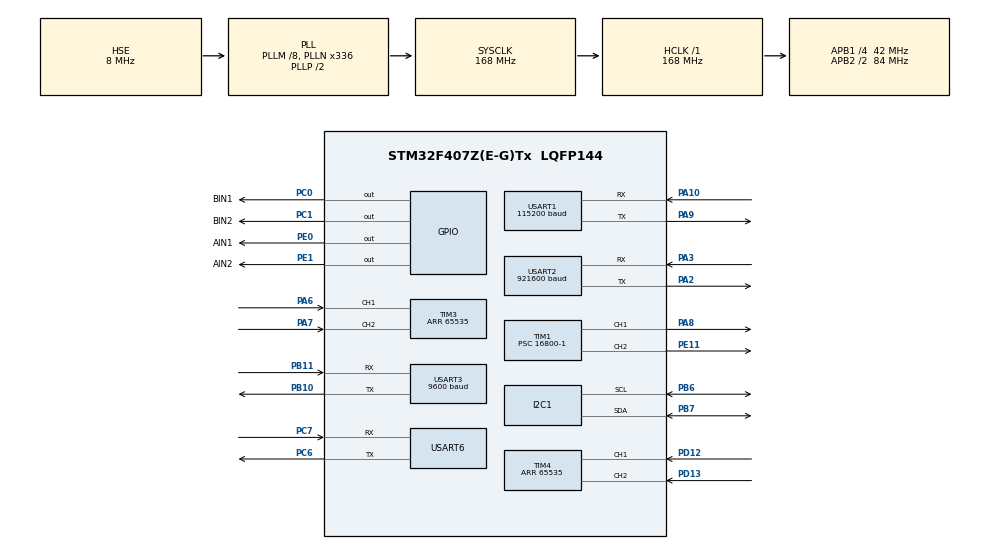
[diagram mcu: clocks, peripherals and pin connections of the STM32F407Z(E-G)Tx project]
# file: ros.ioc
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Dma.Request0=USART2_RX
Dma.Request1=USART2_TX
Dma.USART2_RX.0.Direction=DMA_PERIPH_TO_MEMORY
Dma.USART2_RX.0.FIFOMode=DMA_FIFOMODE_DISABLE
Dma.USART2_RX.0.Instance=DMA1_Stream5
Dma.USART2_RX.0.MemDataAlignment=DMA_MDATAALIGN_BYTE
Dma.USART2_RX.0.MemInc=DMA_MINC_ENABLE
Dma.USART2_RX.0.Mode=DMA_CIRCULAR
Dma.USART2_RX.0.PeriphDataAlignment=DMA_PDATAALIGN_BYTE
Dma.USART2_RX.0.PeriphInc=DMA_PINC_DISABLE
Dma.USART2_RX.0.Priority=DMA_PRIORITY_VERY_HIGH
Dma.USART2_TX.1.Direction=DMA_MEMORY_TO_PERIPH
Dma.USART2_TX.1.FIFOMode=DMA_FIFOMODE_DISABLE
Dma.USART2_TX.1.Instance=DMA1_Stream6
Dma.USART2_TX.1.MemDataAlignment=DMA_MDATAALIGN_BYTE
Dma.USART2_TX.1.MemInc=DMA_MINC_ENABLE
Dma.USART2_TX.1.Mode=DMA_NORMAL
Dma.USART2_TX.1.PeriphDataAlignment=DMA_PDATAALIGN_BYTE
Dma.USART2_TX.1.PeriphInc=DMA_PINC_DISABLE
Dma.USART2_TX.1.Priority=DMA_PRIORITY_VERY_HIGH
FREERTOS.Tasks01=defaultTask,24,3000,StartDefaultTask,Default,NULL,Static,defaultTaskBuffer,defaultTaskControlBlock;imuTask,24,128,StartImuTask,Default,NULL,Static,imuTaskBuffer,imuTaskControlBlock;motorTask,24,128,StartMotorTask,Default,NULL,Static,motorTaskBuffer,motorTaskControlBlock
FREERTOS.configTOTAL_HEAP_SIZE=20000
Mcu.Family=STM32F4
Mcu.Name=STM32F407Z(E-G)Tx
Mcu.Package=LQFP144
NVIC.DMA1_Stream5_IRQn=true\:5\:0\:false\:false\:true\:true\:false\:true\:true
NVIC.DMA1_Stream6_IRQn=true\:5\:0\:false\:false\:true\:true\:false\:true\:true
NVIC.PriorityGroup=NVIC_PRIORITYGROUP_4
NVIC.TIM2_IRQn=true\:5\:0\:true\:false\:true\:true\:true\:true\:true
NVIC.TIM8_TRG_COM_TIM14_IRQn=true\:15\:0\:false\:false\:true\:false\:false\:true\:true
NVIC.TimeBase=TIM8_TRG_COM_TIM14_IRQn
NVIC.TimeBaseIP=TIM14
NVIC.USART1_IRQn=true\:5\:0\:false\:false\:true\:true\:true\:true\:true
NVIC.USART2_IRQn=true\:5\:0\:false\:false\:true\:true\:true\:true\:true
NVIC.USART3_IRQn=true\:5\:0\:false\:false\:true\:true\:true\:true\:true
NVIC.USART6_IRQn=true\:5\:0\:false\:false\:true\:true\:true\:true\:true
PA10.Mode=Asynchronous
PA10.Signal=USART1_RX
PA13.Mode=Serial_Wire
PA13.Signal=SYS_JTMS-SWDIO
PA14.Mode=Serial_Wire
PA14.Signal=SYS_JTCK-SWCLK
PA2.Mode=Asynchronous
PA2.Signal=USART2_TX
PA3.Mode=Asynchronous
PA3.Signal=USART2_RX
PA6.Signal=S_TIM3_CH1
PA7.Signal=S_TIM3_CH2
PA8.Signal=S_TIM1_CH1
PA9.Mode=Asynchronous
PA9.Signal=USART1_TX
PB10.Mode=Asynchronous
PB10.Signal=USART3_TX
PB11.Mode=Asynchronous
PB11.Signal=USART3_RX
PB6.Mode=I2C
PB6.Signal=I2C1_SCL
PB7.Mode=I2C
PB7.Signal=I2C1_SDA
PC0.GPIO_Label=BIN1
PC0.Signal=GPIO_Output
PC1.GPIO_Label=BIN2
PC1.Signal=GPIO_Output
PC6.Mode=Asynchronous
PC6.Signal=USART6_TX
PC7.Mode=Asynchronous
PC7.Signal=USART6_RX
PD12.Signal=S_TIM4_CH1
PD13.Signal=S_TIM4_CH2
PE0.GPIO_Label=AIN1
PE0.Signal=GPIO_Output
PE1.GPIO_Label=AIN2
PE1.Signal=GPIO_Output
PE11.Signal=S_TIM1_CH2
PH0-OSC_IN.Mode=HSE-External-Oscillator
PH0-OSC_IN.Signal=RCC_OSC_IN
PH1-OSC_OUT.Mode=HSE-External-Oscillator
PH1-OSC_OUT.Signal=RCC_OSC_OUT
ProjectManager.HeapSize=0x200
ProjectManager.StackSize=0x400
ProjectManager.TargetToolchain=STM32CubeIDE
RCC.48MHZClocksFreq_Value=84000000
RCC.AHBFreq_Value=168000000
RCC.APB1CLKDivider=RCC_HCLK_DIV4
RCC.APB1Freq_Value=42000000
RCC.APB1TimFreq_Value=84000000
RCC.APB2CLKDivider=RCC_HCLK_DIV2
RCC.APB2Freq_Value=84000000
RCC.APB2TimFreq_Value=168000000
RCC.CortexFreq_Value=168000000
RCC.HCLKFreq_Value=168000000
RCC.HSE_VALUE=8000000
RCC.HSI_VALUE=16000000
RCC.LSE_VALUE=32768
RCC.PLLM=8
RCC.PLLN=336
RCC.PLLSourceVirtual=RCC_PLLSOURCE_HSE
RCC.SYSCLKFreq_VALUE=168000000
RCC.SYSCLKSource=RCC_SYSCLKSOURCE_PLLCLK
RCC.VCOOutputFreq_Value=336000000
SH.S_TIM1_CH1.0=TIM1_CH1,PWM Generation1 CH1
SH.S_TIM1_CH2.0=TIM1_CH2,PWM Generation2 CH2
SH.S_TIM3_CH1.0=TIM3_CH1,Encoder_Interface
SH.S_TIM3_CH2.0=TIM3_CH2,Encoder_Interface
SH.S_TIM4_CH1.0=TIM4_CH1,Encoder_Interface
SH.S_TIM4_CH2.0=TIM4_CH2,Encoder_Interface
TIM1.Channel-PWM\ Generation1\ CH1=TIM_CHANNEL_1
TIM1.Channel-PWM\ Generation2\ CH2=TIM_CHANNEL_2
TIM1.Period=100-1
TIM1.Prescaler=16800-1
TIM2.Period=1000
TIM2.Prescaler=1680-1
TIM3.EncoderMode=TIM_ENCODERMODE_TI12
TIM3.IC1Filter=0
TIM3.IC2Filter=0
TIM3.Period=65535
TIM4.EncoderMode=TIM_ENCODERMODE_TI12
TIM4.Period=65535
USART1.BaudRate=115200
USART1.VirtualMode=VM_ASYNC
USART2.BaudRate=921600
USART2.VirtualMode=VM_ASYNC
USART3.BaudRate=9600
USART3.VirtualMode=VM_ASYNC
USART6.VirtualMode=VM_ASYNC
VP_FREERTOS_VS_CMSIS_V2.Mode=CMSIS_V2
VP_SYS_VS_tim14.Mode=TIM14
VP_TIM2_VS_ClockSourceINT.Mode=Internal
board=custom

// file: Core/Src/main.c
/* USER CODE BEGIN Header */
/**
  ******************************************************************************
  * @file           : main.c
  * @brief          : Main program body
  ******************************************************************************
  * @attention
  *
  * Copyright (c) 2024 STMicroelectronics.
  * All rights reserved.
  *
  * This software is licensed under terms that can be found in the LICENSE file
  * in the root directory of this software component.
  * If no LICENSE file comes with this software, it is provided AS-IS.
  *
  ******************************************************************************
  */
/* USER CODE END Header */
#include "main.h"
#include "cmsis_os.h"
#include "dma.h"
#include "i2c.h"
#include "tim.h"
#include "usart.h"
#include "gpio.h"

/* USER CODE BEGIN Includes */
#include <oled/oled.h>
#include <JY61P/jy61p.h>
#include <encoder/encoder.h>
/* USER CODE END Includes */

void SystemClock_Config(void);
void MX_FREERTOS_Init(void);

int main(void)
{

  /* MCU Configuration--------------------------------------------------------*/

  /* Reset of all peripherals, Initializes the Flash interface and the Systick. */
  HAL_Init();

  /* Configure the system clock */
  SystemClock_Config();

  /* Initialize all configured peripherals */
  MX_GPIO_Init();
  MX_DMA_Init();
  MX_USART2_UART_Init();
  MX_USART1_UART_Init();
  MX_TIM1_Init();
  MX_I2C1_Init();
  MX_USART3_UART_Init();
  MX_TIM3_Init();
  MX_TIM4_Init();
  MX_TIM2_Init();
  MX_USART6_UART_Init();
  /* USER CODE BEGIN 2 */
  HAL_UART_Receive_IT(&huart3,&rx_buff1,1);
//  HAL_UART_Receive_IT(&huart6,&rx_buff1,1);
  HAL_TIM_PWM_Start(&htim1,TIM_CHANNEL_1);	//使能TIM1-1		左AIN
  HAL_TIM_PWM_Start(&htim1,TIM_CHANNEL_2);	//使能TIM1-2		右BIN
  Encoder_Init();

//  OLED_Init();          //OLED初始	SDA-PB7  SCL-PB6
//  OLED_Clear();

  /* USER CODE END 2 */

  /* Init scheduler */
  osKernelInitialize();

  /* Call init function for freertos objects (in cmsis_os2.c) */
  MX_FREERTOS_Init();

  /* Start scheduler */
  osKernelStart();

  /* We should never get here as control is now taken by the scheduler */

  /* Infinite loop */
  while (1)
  {

  }
}

void SystemClock_Config(void)
{
  RCC_OscInitTypeDef RCC_OscInitStruct = {0};
  RCC_ClkInitTypeDef RCC_ClkInitStruct = {0};

  /** Configure the main internal regulator output voltage
  */
  __HAL_RCC_PWR_CLK_ENABLE();
  __HAL_PWR_VOLTAGESCALING_CONFIG(PWR_REGULATOR_VOLTAGE_SCALE1);

  /** Initializes the RCC Oscillators according to the specified parameters
  * in the RCC_OscInitTypeDef structure.
  */
  RCC_OscInitStruct.OscillatorType = RCC_OSCILLATORTYPE_HSE;
  RCC_OscInitStruct.HSEState = RCC_HSE_ON;
  RCC_OscInitStruct.PLL.PLLState = RCC_PLL_ON;
  RCC_OscInitStruct.PLL.PLLSource = RCC_PLLSOURCE_HSE;
  RCC_OscInitStruct.PLL.PLLM = 8;
  RCC_OscInitStruct.PLL.PLLN = 336;
  RCC_OscInitStruct.PLL.PLLP = RCC_PLLP_DIV2;
  RCC_OscInitStruct.PLL.PLLQ = 4;
  if (HAL_RCC_OscConfig(&RCC_OscInitStruct) != HAL_OK)
  {
    Error_Handler();
  }

  /** Initializes the CPU, AHB and APB buses clocks
  */
  RCC_ClkInitStruct.ClockType = RCC_CLOCKTYPE_HCLK|RCC_CLOCKTYPE_SYSCLK
                              |RCC_CLOCKTYPE_PCLK1|RCC_CLOCKTYPE_PCLK2;
  RCC_ClkInitStruct.SYSCLKSource = RCC_SYSCLKSOURCE_PLLCLK;
  RCC_ClkInitStruct.AHBCLKDivider = RCC_SYSCLK_DIV1;
  RCC_ClkInitStruct.APB1CLKDivider = RCC_HCLK_DIV4;
  RCC_ClkInitStruct.APB2CLKDivider = RCC_HCLK_DIV2;

  if (HAL_RCC_ClockConfig(&RCC_ClkInitStruct, FLASH_LATENCY_5) != HAL_OK)
  {
    Error_Handler();
  }
}

void HAL_TIM_PeriodElapsedCallback(TIM_HandleTypeDef *htim)
{
  if (htim->Instance == TIM14) {
    HAL_IncTick();
  }
  /* USER CODE BEGIN Callback 1 */
  if(htim->Instance==GAP_TIM.Instance)
  {
	motor1.Direction = __HAL_TIM_IS_TIM_COUNTING_DOWN(&ENCODER_1_TIM);
	motor2.Direction = __HAL_TIM_IS_TIM_COUNTING_DOWN(&ENCODER_2_TIM);
	motor1.CaptureNumber = __HAL_TIM_GET_COUNTER(&ENCODER_1_TIM);
	motor2.CaptureNumber = __HAL_TIM_GET_COUNTER(&ENCODER_2_TIM);

	if(motor1.Direction)  //如果向下计数，真实的脉冲计数值＝65535-CaptureNumber
		motor1.CaptureNumber = 65535 - motor1.CaptureNumber;
	if(motor2.Direction)  //如果向下计数，真实的脉冲计数值＝65535-CaptureNumber
			motor2.CaptureNumber = 65535 - motor2.CaptureNumber;
	motor1.speed = motor1.CaptureNumber * 60/0.01/4/1320/30;
	motor2.speed = motor2.CaptureNumber * 60/0.01/4/1320/30;
	// 脉冲数量×60/定时时间(s)/4倍频/单圈脉冲�?(1320)/减�?�比�?    单位 r/min

	__HAL_TIM_GET_COUNTER(&ENCODER_1_TIM) = 0;//计数值清0�?
	__HAL_TIM_GET_COUNTER(&ENCODER_2_TIM) = 0;//计数值清0�?
  }
  /* USER CODE END Callback 1 */
}

void Error_Handler(void)
{
  __disable_irq();
  while (1)
  {
  }
}

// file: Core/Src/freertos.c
/* USER CODE BEGIN Header */
/**
  ******************************************************************************
  * File Name          : freertos.c
  * Description        : Code for freertos applications
  ******************************************************************************
  * @attention
  *
  * Copyright (c) 2024 STMicroelectronics.
  * All rights reserved.
  *
  * This software is licensed under terms that can be found in the LICENSE file
  * in the root directory of this software component.
  * If no LICENSE file comes with this software, it is provided AS-IS.
  *
  ******************************************************************************
  */
/* USER CODE END Header */

#include "FreeRTOS.h"
#include "task.h"
#include "main.h"
#include "cmsis_os.h"

/* USER CODE BEGIN Includes */
#include "usart.h"
#include <motor/motor.h>
#include <oled/oled.h>
#include <JY61P/jy61p.h>
#include <encoder/encoder.h>
#include <Robotic_arm/robotic_arm.h>

#include <rcl/rcl.h>
#include <rcl/error_handling.h>
#include <rclc/rclc.h>
#include <rclc/executor.h>
#include <uxr/client/transport.h>
#include <rmw_microxrcedds_c/config.h>
#include <rmw_microros/rmw_microros.h>
#include <micro_ros_utilities/type_utilities.h>>

#include <std_msgs/msg/int32.h>
#include <std_msgs/msg/float32.h>
#include <std_msgs/msg/string.h>
#include <geometry_msgs/msg/twist.h>
#include <std_msgs/msg/detail/header__struct.h>
/* USER CODE END Includes */

typedef StaticTask_t osStaticThreadDef_t;
/* USER CODE BEGIN PTD */
typedef struct {
    float kp, ki, kd;
    float integral, prev_error;
} PIDController;
/* USER CODE END PTD */

/* USER CODE BEGIN PD */
#define RCCHECK(fn) { rcl_ret_t temp_rc = fn; if((temp_rc != RCL_RET_OK)){printf("Failed status on line %d: %d. Aborting.\n",__LINE__,(int)temp_rc);vTaskDelete(NULL);}}
#define RCSOFTCHECK(fn) { rcl_ret_t temp_rc = fn; if((temp_rc != RCL_RET_OK)){printf("Failed status on line %d: %d. Continuing.\n",__LINE__,(int)temp_rc);}}
/* USER CODE END PD */

/* USER CODE BEGIN PM */
char en1[20];
char en2[20];
int start_sign = 0;
#define STRING_LEN 200
/* USER CODE END PM */

/* USER CODE BEGIN Variables */
rclc_support_t support;
rcl_allocator_t allocator;
rcl_node_t node;

rcl_publisher_t hx_publisher;
std_msgs__msg__Int32  hx_send_msg;
rcl_subscription_t hx_subscriber;
rclc_executor_t hx_executor;
std_msgs__msg__Int32 hx_get_msg;

rcl_publisher_t imu_publisher;
std_msgs__msg__String imu_send_msg;
char string_memory[STRING_LEN];

rcl_publisher_t arm_publisher;
std_msgs__msg__String  arm_send_msg;
rcl_subscription_t arm_subscriber;
rclc_executor_t arm_executor;
std_msgs__msg__String arm_get_msg;
char arm_getdata[100];

//键盘控制“cmd_vel�????
rcl_subscription_t cmd_subscriber;
rclc_executor_t cmd_executor;
geometry_msgs__msg__Twist cmd_get_msg;
int cmd_getFlag = 0;
float ratio = 50.0f ;   //转速转换比例，执行速度调整比例48.78f
float D = 2.05f ;    //两轮间距，单位是m0.205f
float linear_temp=0,angular_temp=0;
float left_speed=0,right_speed=0;
float left_output=0,right_output=0;
PIDController pid = {0.1, 0.01, 0.01, 0.0, 0.0};

/* USER CODE END Variables */
/* Definitions for defaultTask */
osThreadId_t defaultTaskHandle;
uint32_t defaultTaskBuffer[ 3000 ];
osStaticThreadDef_t defaultTaskControlBlock;
const osThreadAttr_t defaultTask_attributes = {
  .name = "defaultTask",
  .cb_mem = &defaultTaskControlBlock,
  .cb_size = sizeof(defaultTaskControlBlock),
  .stack_mem = &defaultTaskBuffer[0],
  .stack_size = sizeof(defaultTaskBuffer),
  .priority = (osPriority_t) osPriorityNormal,
};
/* Definitions for imuTask */
osThreadId_t imuTaskHandle;
uint32_t imuTaskBuffer[ 128 ];
osStaticThreadDef_t imuTaskControlBlock;
const osThreadAttr_t imuTask_attributes = {
  .name = "imuTask",
  .cb_mem = &imuTaskControlBlock,
  .cb_size = sizeof(imuTaskControlBlock),
  .stack_mem = &imuTaskBuffer[0],
  .stack_size = sizeof(imuTaskBuffer),
  .priority = (osPriority_t) osPriorityNormal,
};
/* Definitions for motorTask */
osThreadId_t motorTaskHandle;
uint32_t motorTaskBuffer[ 128 ];
osStaticThreadDef_t motorTaskControlBlock;
const osThreadAttr_t motorTask_attributes = {
  .name = "motorTask",
  .cb_mem = &motorTaskControlBlock,
  .cb_size = sizeof(motorTaskControlBlock),
  .stack_mem = &motorTaskBuffer[0],
  .stack_size = sizeof(motorTaskBuffer),
  .priority = (osPriority_t) osPriorityNormal,
};

/* USER CODE BEGIN FunctionPrototypes */
bool cubemx_transport_open(struct uxrCustomTransport * transport);
bool cubemx_transport_close(struct uxrCustomTransport * transport);
size_t cubemx_transport_write(struct uxrCustomTransport* transport, const uint8_t * buf, size_t len, uint8_t * err);
size_t cubemx_transport_read(struct uxrCustomTransport* transport, uint8_t* buf, size_t len, int timeout, uint8_t* err);

void * microros_allocate(size_t size, void * state);
void microros_deallocate(void * pointer, void * state);
void * microros_reallocate(void * pointer, size_t size, void * state);
void * microros_zero_allocate(size_t number_of_elements, size_t size_of_element, void * state);

void micro_ros_init(void);
void hx_ros_init(void);
void imu_ros_init(void);
void arm_ros_init(void);
void cmd_get_init(void);

float pid_compute(PIDController *pid, float setpoint, float measured);

#include "stdio.h"
#define PUTCHAR_PROTOTYPE int __io_putchar(int ch)

PUTCHAR_PROTOTYPE
{
    HAL_UART_Transmit(&huart1 , (uint8_t *)&ch, 1, 0xFFFF);
    return ch;
}

void Uart6_SendStr(char*SendBuf)//串口6打印数据(这个无法发送0x00)
{
	while(*SendBuf)
	{
	  while((USART6->SR&0X40)==0);//等待发送完成
    USART6->DR = (unsigned char) *SendBuf;
		SendBuf++;
	}
}
// Implementation example:
void subscription_callback(const void * msgin)
{
  // Cast received message to used type
  const std_msgs__msg__Int32 * msg = (const std_msgs__msg__Int32 *)msgin;
  printf("msg Received: %d\r\n", hx_get_msg.data);
}

void subscription_callback_arm(const void * msgin)//机械臂控制
{
  // Cast received message to used type
  const std_msgs__msg__String * msg = (const std_msgs__msg__String *)msgin;
  printf("arm Received: %s\r\n",arm_getdata);
}

void subscription_callback_cmd(const void * msgin)//键盘控制
{
  // Cast received message to used type
  const geometry_msgs__msg__Twist * msg = (const geometry_msgs__msg__Twist *)msgin;
  cmd_getFlag = 1;
  printf("\r\nlinear:  x: %lf\r\n"
		     "         y: %lf\r\n"
			 "         z: %lf\r\n", cmd_get_msg.linear.x
								  , cmd_get_msg.linear.y
								  , cmd_get_msg.linear.z);
  printf("\r\nangular: x: %lf\r\n"
			 "         y: %lf\r\n"
		  	 "         z: %lf\r\n", cmd_get_msg.angular.x
								  , cmd_get_msg.angular.y
								  , cmd_get_msg.angular.z);
}
/* USER CODE END FunctionPrototypes */

void StartDefaultTask(void *argument);
void StartImuTask(void *argument);
void StartMotorTask(void *argument);

void MX_FREERTOS_Init(void); /* (MISRA C 2004 rule 8.1) */

void MX_FREERTOS_Init(void) {

  /* Create the thread(s) */
  /* creation of defaultTask */
  defaultTaskHandle = osThreadNew(StartDefaultTask, NULL, &defaultTask_attributes);

  /* creation of imuTask */
  imuTaskHandle = osThreadNew(StartImuTask, NULL, &imuTask_attributes);

  /* creation of motorTask */
  motorTaskHandle = osThreadNew(StartMotorTask, NULL, &motorTask_attributes);

}

void StartDefaultTask(void *argument)
{
  /* USER CODE BEGIN StartDefaultTask */

	micro_ros_init();

	// micro-ROS app
	hx_ros_init();//测试用
	imu_ros_init();
	arm_ros_init();
	cmd_get_init();

	start_sign = 1;
	for(;;)
	{
		//test
//		RCSOFTCHECK(rcl_publish(&hx_publisher, &hx_send_msg, NULL));//测试用
//		hx_send_msg.data++;

		//imu
		sprintf(imu_send_msg.data.data, "'\n'acc: %f/%f/%f"
									    "'\n'gyr: %f/%f/%f"
									    "'\n'ang: %f/%f/%f", acc_x, acc_y, acc_z
														   , gyro_x, gyro_y, gyro_z
														   , angle_x, angle_y, angle_z);
		imu_send_msg.data.size = strlen(imu_send_msg.data.data);
		RCSOFTCHECK(rcl_publish(&imu_publisher, &imu_send_msg, NULL));

		rclc_executor_spin_some(&hx_executor, RCL_MS_TO_NS(10));
		rclc_executor_spin_some(&arm_executor, RCL_MS_TO_NS(10));
		rclc_executor_spin_some(&cmd_executor, RCL_MS_TO_NS(50));
	}
  /* USER CODE END StartDefaultTask */
}

void StartImuTask(void *argument)
{
  /* USER CODE BEGIN StartImuTask */
  /* Infinite loop */
  for(;;)
  {
	  //	while(1){
	  //		OLED_ShowString(0, 3, en1, 12, 0);
	  //		OLED_ShowString(0, 4, en2, 12, 0);
	  //	  }
	get_data();//JY61P获取数据
	if(arm_getdata[0] != '\0'){
		Uart6_SendStr(arm_getdata);
		memset(arm_getdata, 0, sizeof(arm_getdata));
	}
    osDelay(10);
  }
  /* USER CODE END StartImuTask */
}

void StartMotorTask(void *argument)
{
  /* USER CODE BEGIN StartMotorTask */
  /* Infinite loop */
  for(;;)
  {
	  if(cmd_getFlag == 1){
		  angular_temp = cmd_get_msg.angular.z ; //获取/cmd_vel的角速度,rad/s
		  linear_temp = cmd_get_msg.linear.x ;   //获取/cmd_vel的线速度.m/s
		  //将转换好的小车�?�度分量为左右轮速度
		  left_speed = (linear_temp - 0.5f*angular_temp*D)*ratio ;
		  right_speed = (linear_temp + 0.5f*angular_temp*D)*ratio ;

		  cmd_getFlag = 0;
	  }
	  else{
		  left_speed = right_speed = 0;
	  }

      left_output = pid_compute(&pid, left_speed, motor1.speed);
      right_output = pid_compute(&pid, right_speed, motor2.speed);

      left_output = (left_output > 100) ? 100 : (left_output < -100) ? -100 : left_output;
      right_output = (right_output > 100) ? 100 : (right_output < -100) ? -100 : right_output;

	  left_motor_control(left_speed);
	  right_motor_control(right_speed);

    osDelay(120);
  }
  /* USER CODE END StartMotorTask */
}

/* USER CODE BEGIN Application */
void micro_ros_init(void){
	 printf("hello mirco_ros\r\n");
		  rmw_uros_set_custom_transport(
		    true,
		    (void *) &huart2,
		    cubemx_transport_open,
		    cubemx_transport_close,
		    cubemx_transport_write,
		    cubemx_transport_read);

		  rcl_allocator_t freeRTOS_allocator = rcutils_get_zero_initialized_allocator();
		  freeRTOS_allocator.allocate = microros_allocate;
		  freeRTOS_allocator.deallocate = microros_deallocate;
		  freeRTOS_allocator.reallocate = microros_reallocate;
		  freeRTOS_allocator.zero_allocate =  microros_zero_allocate;

		  if (!rcutils_set_default_allocator(&freeRTOS_allocator)) {
		      printf("Error on default allocators (line %d)\n", __LINE__);
		  }

		  allocator = rcl_get_default_allocator();

		  //create init_options
		  rclc_support_init(&support, 0, NULL, &allocator);

		  // create node
		  rclc_node_init_default(&node, "cubemx_node", "", &support);
}

void hx_ros_init(void){
	// create publisher
	rclc_publisher_init_default(
	&hx_publisher,
	&node,
	ROSIDL_GET_MSG_TYPE_SUPPORT(std_msgs, msg, Int32),
	"cubemx_publisher");
	hx_send_msg.data = 0;

	const char * subscriber_name = "hx_topic";
	// Initialize a reliable subscriber
	rcl_ret_t rc = rclc_subscription_init_default(
	  &hx_subscriber, &node,
	  ROSIDL_GET_MSG_TYPE_SUPPORT(std_msgs, msg, Int32), subscriber_name);
	if (RCL_RET_OK != rc) {
		 printf("Error subscription_init (line %d) (ret %d)\r\n", __LINE__,rc);
		 while(1){
			 NVIC_SystemReset();
			 osDelay(200);
		 }
	}
	RCCHECK(rclc_executor_init(&hx_executor, &support.context, 1, &allocator));
	RCCHECK(rclc_executor_add_subscription(&hx_executor, &hx_subscriber, &hx_get_msg, &subscription_callback, ON_NEW_DATA));
}

void imu_ros_init(void){
	imu_send_msg.data.data = &string_memory[0];
	imu_send_msg.data.size = 0;
	imu_send_msg.data.capacity = STRING_LEN;

	// create publisher
	rclc_publisher_init_default(
	&imu_publisher,
	&node,
	ROSIDL_GET_MSG_TYPE_SUPPORT(std_msgs, msg, String),
	"imu_publisher");
}

void arm_ros_init(void){
	arm_get_msg.data.data = &arm_getdata[0];
	arm_get_msg.data.size = 0;
	arm_get_msg.data.capacity = 100;

	const char * arm_subscriber_name = "arm_topic";
	// Initialize a reliable subscriber
	rcl_ret_t rc_arm = rclc_subscription_init_default(
	  &arm_subscriber, &node,
	  ROSIDL_GET_MSG_TYPE_SUPPORT(std_msgs, msg, String), arm_subscriber_name);
	if (RCL_RET_OK != rc_arm) {
		 printf("Error subscription_init (line %d) (ret %d)\n", __LINE__,rc_arm);
		 while(1){
			 osDelay(200);
		 }
	}
	RCCHECK(rclc_executor_init(&arm_executor, &support.context, 1, &allocator));
	RCCHECK(rclc_executor_add_subscription(&arm_executor, &arm_subscriber, &arm_get_msg, &subscription_callback_arm, ON_NEW_DATA));

	Uart6_SendStr("{#001P1500T1000!#002P1200T1000!#003P0500T1000!#004P1500T1000!#005P1500T1000!}");//机械臂初始位置
}

void cmd_get_init(void){
	const char * cmd_subscriber_name = "cmd_vel";
	// Initialize a reliable subscriber
	rcl_ret_t rc_cmd = rclc_subscription_init_default(
	  &cmd_subscriber, &node,
	  ROSIDL_GET_MSG_TYPE_SUPPORT(geometry_msgs, msg, Twist), cmd_subscriber_name);
	if (RCL_RET_OK != rc_cmd) {
		 printf("Error subscription_init (line %d) (ret %d)\n", __LINE__,rc_cmd);
		 while(1){
			 osDelay(200);
		 }
	}
	RCCHECK(rclc_executor_init(&cmd_executor, &support.context, 1, &allocator));
	RCCHECK(rclc_executor_add_subscription(&cmd_executor, &cmd_subscriber, &cmd_get_msg, &subscription_callback_cmd, ON_NEW_DATA));
}

float pid_compute(PIDController *pid, float setpoint, float measured) {
    float error = setpoint - measured;
    pid->integral += error;
    float derivative = error - pid->prev_error;
    pid->prev_error = error;

    float output = pid->kp * error + pid->ki * pid->integral + pid->kd * derivative;
    return output;
}
/* USER CODE END Application */
